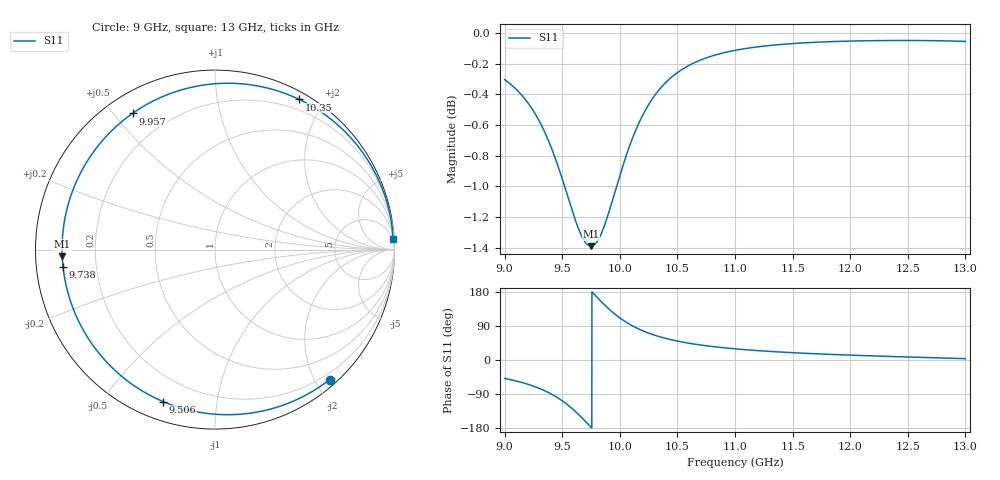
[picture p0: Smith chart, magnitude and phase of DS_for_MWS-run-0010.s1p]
! TOUCHSTONE file generated by CST DESIGN STUDIO
! Date and time: Tue Feb  4 18:28:34 2025
! Project name: C:\Work\MatlabApps\UnitCellOptimizationMatlab\CST\unitcell.cst
! Tree item: Tasks\Sweep1\SPara1\S-Parameters
! Header version: 2024
! Port assignment regex: !\s*Touchstone port\s*([0-9]+)\s*=\s*(CST MWS port|CST DES external port|CST DES block port)\s*(.+)\s* \(\"(.*)\"\)(\s*mode\s*([0-9]+))?.*
! Touchstone port assignment:
! Touchstone port 1 = CST DES external port 1 ("")
# GHz S MA R 50
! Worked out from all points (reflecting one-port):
!   4001 points, 9 GHz to 13 GHz, reference 50 ohm
!   lowest |S11| = -1.4 dB at 9.75 GHz (marker M1), VSWR 12.52, Z = 4 - j1.11 ohm
!   phase of S11 starts at -49 deg and turns -308 deg over the sweep
!   S11 on the Smith chart (normalised r, x): 9 GHz: 0.10, -2.21; 9.506 GHz: 0.08, -0.71; 9.738 GHz: 0.08, -0.06; 9.957 GHz: 0.08, +0.56; 10.35 GHz: 0.08, +1.71; 13 GHz: 3, +32
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9  0.9656 -48.6
9.14  0.9552 -58.5
9.269  0.9406 -71.1
9.4  0.9185 -88.9
9.452  0.9075 -98.0
9.5  0.8962 -107.6
9.506  0.8948 -108.9
9.563  0.8808 -122.1
9.617  0.8682 -136.5
9.681  0.8568 -155.4
9.738  0.8522 -173.6
9.75  0.852 -177.4
9.794  0.8541 168.3
9.841  0.8604 153.5
9.9  0.8728 136.2
9.957  0.8872 121.2
10  0.8983 111.1
10.065  0.9142 97.9
10.139  0.9297 85.5
10.242  0.9465 71.9
10.354  0.9595 60.7
10.5  0.9707 49.9
10.718  0.9804 38.8
11  0.987 29.4
11.5  0.9921 19.3
12  0.9939 12.8
12.5  0.9944 7.9
13  0.9937 3.5
